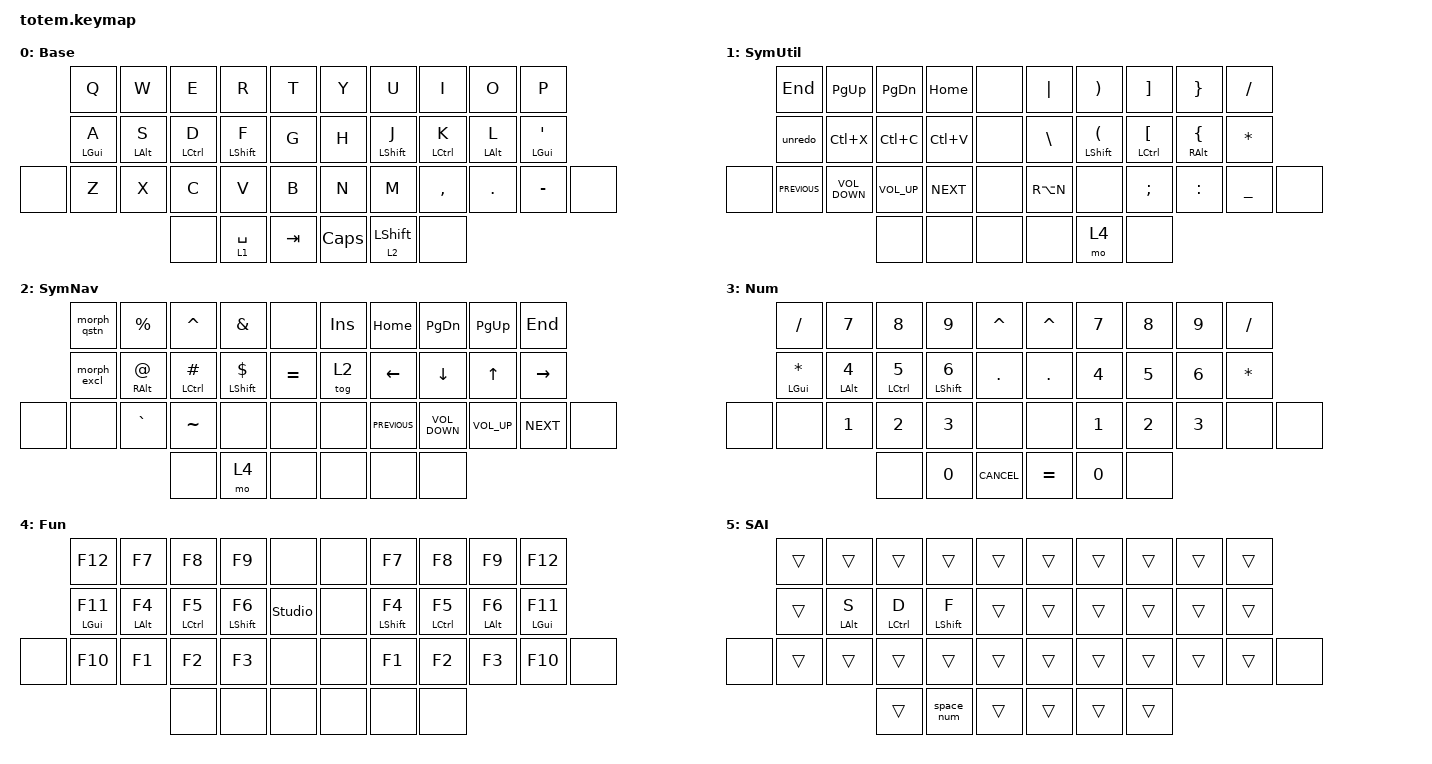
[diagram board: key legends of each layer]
//
//                                                        ▀▀▀▀▀     ▀▀▀▀▀          ▀▀█▀▀
//                                                        ▄▀▀▀▄  ▄  ▄▀▀▀▄  ▄  ▄▀▀▀▄  █  ▄▀▀▀▄
//                                                        █   █  █  █   █  █  █   █  █  █   █
//                                                         ▀▀▀   █   ▀▀▀   █   ▀▀▀   ▀   ▀▀▀
//                                                               █      ▄▄▄█▄▄▄    █   █  
//                                                               ▀      █  █  █     █▄█
//                                                             ▀▀▀▀▀    █  █  █      ▀
//                                                                      ▀  ▀  ▀
//
// ▄▄▄▄▄▄▄▄▄▄▄▄▄▄▄▄▄▄▄▄▄▄▄▄▄▄▄▄▄▄▄▄▄▄▄▄▄▄▄▄▄▄▄▄▄▄▄▄▄▄▄▄▄▄▄▄▄▄▄▄▄▄▄▄▄▄▄▄▄▄▄▄▄▄▄▄▄▄▄▄▄▄▄▄▄▄▄▄▄▄▄▄▄▄▄▄▄▄▄▄▄▄▄▄▄▄▄▄▄▄▄▄▄▄▄▄▄▄▄▄▄▄▄▄▄▄▄▄▄▄▄▄▄▄▄▄▄▄▄▄▄▄▄▄▄▄▄▄▄

#include <behaviors.dtsi>
#include <behaviors/num_word.dtsi>
#include <dt-bindings/zmk/keys.h>

#define Base        0
#define Num         1
#define SymL        2
#define SymR        3
#define Nav         4
#define Fun         5
#define SAI         6

&lt {
    quick-tap-ms = <100>;
    tapping-term-ms = <170>;
};

&mt {
    tapping-term-ms = <170>;
    flavor = "tap-preferred";
    quick-tap-ms = <100>;
};

&sk {
    quick-release;
    lazy;
};

/ {
    behaviors {
        hml: homerow_mods_left {
            compatible = "zmk,behavior-hold-tap";
            label = "HOMEROW_MODS_LEFT";
            #binding-cells = <2>;
            flavor = "balanced";
            tapping-term-ms = <280>;
            bindings = <&kp>, <&kp>;

            quick-tap-ms = <175>;
            require-prior-idle-ms = <150>;
            hold-trigger-on-release;
            hold-trigger-key-positions = <5 15 26 27 16 6 7 17 28 8 18 29 9 19 30 31 35 36 37 32 33 34>;
        };

        hmr: homerow_mods_right {
            compatible = "zmk,behavior-hold-tap";
            label = "HOMEROW_MODS_RIGHT";
            #binding-cells = <2>;
            flavor = "balanced";
            tapping-term-ms = <280>;
            bindings = <&kp>, <&kp>;

            quick-tap-ms = <175>;
            require-prior-idle-ms = <150>;
            hold-trigger-on-release;
            hold-trigger-key-positions = <0 1 2 3 4 10 11 12 13 14 21 22 23 24 25 32 33 20 34 35 36 37>;
        };

        hml_und: homerow_mods_left_undecided {
            compatible = "zmk,behavior-hold-tap";
            label = "HOMEROW_MODS_LEFT_UNDECIDED";
            #binding-cells = <2>;
            flavor = "balanced";
            tapping-term-ms = <280>;
            bindings = <&kp>, <&kp>;

            quick-tap-ms = <175>;
            require-prior-idle-ms = <150>;
            hold-trigger-on-release;
            hold-trigger-key-positions = <5 15 26 27 16 6 7 17 28 8 18 29 9 19 30 31 35 36 37 32 33 34>;
            hold-while-undecided;
        };

        mt_und: homerow_mods_undecided {
            compatible = "zmk,behavior-hold-tap";
            label = "HOMEROW_MODS_UNDECIDED";
            bindings = <&kp>, <&kp>;

            #binding-cells = <2>;
            tapping-term-ms = <100>;
            quick-tap-ms = <170>;
            flavor = "tap-preferred";
            hold-while-undecided;
        };

        unredo: morph_undo_redo {
            compatible = "zmk,behavior-mod-morph";
            label = "MORPH_UNDO_REDO";
            bindings = <&kp LC(Z)>, <&kp LC(Y)>;

            #binding-cells = <0>;
            mods = <(MOD_LSFT)>;
        };

        morph_excl: morph_exclamation_mark {
            compatible = "zmk,behavior-mod-morph";
            label = "MORPH_EXCLAMATION_MARK";
            bindings = <&kp EXCL>, <&kp RA(NUMBER_1)>;

            #binding-cells = <0>;
            mods = <(MOD_LSFT)>;
        };

        morph_qstn: morph_question_mark {
            compatible = "zmk,behavior-mod-morph";
            label = "MORPH_QUESTION_MARK";
            bindings = <&kp QUESTION>, <&kp RA(SLASH)>;

            #binding-cells = <0>;
            mods = <(MOD_LSFT)>;
        };

        lt_sk: layer_sticky_tap {
            compatible = "zmk,behavior-hold-tap";
            label = "LAYER_STICKY_TAP";
            bindings = <&mo>, <&sk>;

            #binding-cells = <2>;
            flavor = "tap-preferred";
            tapping-term-ms = <170>;
            quick-tap-ms = <100>;
        };

        mo_sl: mo_layer_sk_layer {
            compatible = "zmk,behavior-hold-tap";
            label = "MO_LAYER_SK_LAYER";
            bindings = <&mo>, <&num_word>;

            #binding-cells = <2>;
            tapping-term-ms = <170>;
            quick-tap-ms = <100>;
            flavor = "tap-preferred";
        };
    };

    combos {
        compatible = "zmk,combos";

        combo_backspace {
            bindings = <&kp BACKSPACE>;
            key-positions = <16 17>;
            layers = <0>;
            require-prior-idle-ms = <150>;
        };

        combo_del_r {
            bindings = <&kp DELETE>;
            key-positions = <18 17>;
            layers = <0>;
            require-prior-idle-ms = <150>;
        };

        combo_esc {
            bindings = <&kp ESCAPE>;
            key-positions = <11 12>;
            layers = <0>;
            require-prior-idle-ms = <150>;
        };

        combo_del_l {
            bindings = <&kp DELETE>;
            key-positions = <12 13 11>;
            layers = <0>;
            require-prior-idle-ms = <150>;
        };

        combo_util_pscrn {
            bindings = <&kp PRINTSCREEN>;
            key-positions = <12 11>;
            layers = <1>;
            require-prior-idle-ms = <150>;
        };

        combo_util_mute {
            bindings = <&kp C_MUTE>;
            key-positions = <23 22>;
            layers = <1>;
            require-prior-idle-ms = <150>;
        };

        combo_nav_mute {
            bindings = <&kp C_MUTE>;
            key-positions = <28 29>;
            require-prior-idle-ms = <150>;
            layers = <2>;
        };

        combo_util_pause {
            bindings = <&kp C_PAUSE>;
            key-positions = <13 12>;
            layers = <1>;
            require-prior-idle-ms = <150>;
        };

        combo_nav_pause {
            bindings = <&kp C_PAUSE>;
            key-positions = <17 16>;
            require-prior-idle-ms = <150>;
            layers = <2>;
        };

        combo_return_r {
            bindings = <&kp RETURN>;
            key-positions = <16 17 18>;
            layers = <0 3>;
            require-prior-idle-ms = <150>;
        };

        combo_return_l {
            bindings = <&kp RETURN>;
            key-positions = <11 12 13>;
            layers = <1 3>;
        };

        combo_plus_r {
            bindings = <&kp PLUS>;
            key-positions = <16 17>;
            require-prior-idle-ms = <150>;
            layers = <3 1>;
        };

        combo_plus_l {
            bindings = <&kp PLUS>;
            key-positions = <12 13>;
            require-prior-idle-ms = <150>;
            layers = <3 1>;
        };

        combo_minus_l {
            bindings = <&kp MINUS>;
            key-positions = <11 12>;
            require-prior-idle-ms = <150>;
            layers = <3>;
        };

        combo_minus_r {
            bindings = <&kp MINUS>;
            key-positions = <17 18>;
            require-prior-idle-ms = <150>;
            layers = <3>;
        };

        combo_num {
            bindings = <&mo_sl 3 3>;
            key-positions = <12 13>;
        };
    };

    macros {
        space_num: space_num {
            compatible = "zmk,behavior-macro";
            #binding-cells = <0>;
            bindings =
                <&macro_press>,
                <&mo 3 &kp SPACE>,
                <&macro_pause_for_release>,
                <&macro_release>,
                <&mo 3 &kp SPACE>;

            label = "SPACE_NUM";
        };
    };

    keymap {
        compatible = "zmk,keymap";

        Base {
            label = "Base";
            bindings = <
       &kp Q            &kp W            &kp E                    &kp R                  &kp T      &kp Y         &kp U                &kp I                &kp O            &kp P
       &hml LEFT_GUI A  &hml LEFT_ALT S  &hml_und LEFT_CONTROL D  &hml_und LEFT_SHIFT F  &kp G      &kp H         &hmr LEFT_SHIFT J    &hmr LEFT_CONTROL K  &hmr LEFT_ALT L  &hmr LEFT_GUI SINGLE_QUOTE
&none  &kp Z            &kp X            &kp C                    &kp V                  &kp B      &kp N         &kp M                &kp COMMA            &kp PERIOD       &kp MINUS                   &none
                                         &none                    &lt 1 SPACE            &kp TAB    &kp CAPSLOCK  &lt_sk 2 LEFT_SHIFT  &none
            >;
        };

        SymUtil {
            label = "SymUtil";
            bindings = <
       &kp END         &kp PAGE_UP        &kp PAGE_DOWN    &kp HOME    &none    &kp PIPE       &kp RIGHT_PARENTHESIS            &kp RIGHT_BRACKET              &kp RIGHT_BRACE           &kp SLASH
       &unredo         &kp LC(X)          &kp LC(C)        &kp LC(V)   &none    &kp BACKSLASH  &mt LEFT_SHIFT LEFT_PARENTHESIS  &mt LEFT_CONTROL LEFT_BRACKET  &mt RIGHT_ALT LEFT_BRACE  &kp ASTERISK
&none  &kp C_PREVIOUS  &kp C_VOLUME_DOWN  &kp C_VOLUME_UP  &kp C_NEXT  &none    &kp RA(N)      &none                            &kp SEMICOLON                  &kp COLON                 &kp UNDERSCORE  &none
                                          &none            &none       &none    &none          &mo 4                            &none
            >;
        };

        SymNav {
            bindings = <
       &morph_qstn  &kp PERCENT       &kp CARET              &kp AMPERSAND          &none        &kp INSERT  &kp HOME        &kp PAGE_DOWN      &kp PAGE_UP      &kp END
       &morph_excl  &mt RIGHT_ALT AT  &mt LEFT_CONTROL HASH  &mt LEFT_SHIFT DOLLAR  &kp EQUAL    &tog 2      &kp LEFT_ARROW  &kp DOWN_ARROW     &kp UP_ARROW     &kp RIGHT_ARROW
&none  &none        &kp GRAVE         &kp TILDE              &none                  &none        &none       &kp C_PREVIOUS  &kp C_VOLUME_DOWN  &kp C_VOLUME_UP  &kp C_NEXT       &none
                                      &none                  &mo 4                  &none        &none       &none           &none
            >;

            label = "SymNav";
        };

        Num {
            bindings = <
       &kp SLASH              &kp N7                 &kp N8                     &kp N9                   &kp CARET       &kp CARET  &kp N7  &kp N8  &kp N9  &kp SLASH
       &mt LEFT_GUI ASTERISK  &mt LEFT_ALT NUMBER_4  &mt LEFT_CONTROL NUMBER_5  &mt LEFT_SHIFT NUMBER_6  &kp DOT         &kp DOT    &kp N4  &kp N5  &kp N6  &kp ASTERISK
&none  &none                  &kp N1                 &kp N2                     &kp N3                   &none           &none      &kp N1  &kp N2  &kp N3  &none         &none
                                                     &none                      &kp N0                   &kp K_CANCEL    &kp EQUAL  &kp N0  &none
            >;

            label = "Num";
        };

        Fun {
            bindings = <
       &kp F12           &kp F7           &kp F8               &kp F9             &none             &none  &kp F7             &kp F8               &kp F9           &kp F12
       &mt LEFT_GUI F11  &mt LEFT_ALT F4  &mt LEFT_CONTROL F5  &mt LEFT_SHIFT F6  &studio_unlock    &none  &mt LEFT_SHIFT F4  &mt LEFT_CONTROL F5  &mt LEFT_ALT F6  &mt LEFT_GUI F11
&none  &kp F10           &kp F1           &kp F2               &kp F3             &none             &none  &kp F1             &kp F2               &kp F3           &kp F10           &none
                                          &none                &none              &none             &none  &none              &none
            >;

            label = "Fun";
        };

        SAI {
            bindings = <
       &trans  &trans              &trans                  &trans                &trans    &trans  &trans  &trans  &trans  &trans
       &trans  &mt_und LEFT_ALT S  &mt_und LEFT_CONTROL D  &mt_und LEFT_SHIFT F  &trans    &trans  &trans  &trans  &trans  &trans
&none  &trans  &trans              &trans                  &trans                &trans    &trans  &trans  &trans  &trans  &trans  &none
                                   &trans                  &space_num            &trans    &trans  &trans  &trans
            >;

            label = "SAI";
        };
    };

    conditional_layers { compatible = "zmk,conditional-layers"; };
};
